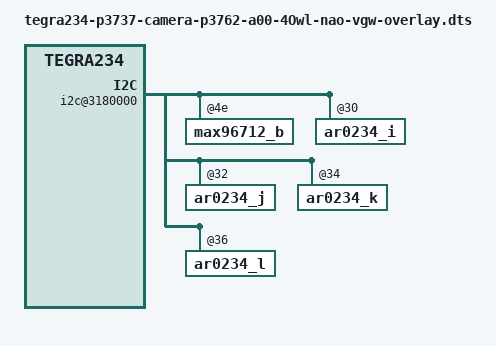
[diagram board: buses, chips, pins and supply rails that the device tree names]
// SPDX-License-Identifier: GPL-2.0-only
// SPDX-FileCopyrightText: Copyright (c) 2024, NVIDIA CORPORATION & AFFILIATES. All rights reserved.

/dts-v1/;
/plugin/;

#include "tegra234-p3737-camera-p3762-a00-nao-vgw.dtsi"
#include "dt-bindings/gpio/tegra234-gpio.h"
#include "dt-bindings/clock/tegra234-clock.h"
#include <dt-bindings/tegra234-p3737-0000+p3701-0000.h>

/* camera control gpio definitions */
#define CAM0_RST_L      TEGRA234_MAIN_GPIO(H, 3)
#define CAM0_PWDN       TEGRA234_MAIN_GPIO(H, 6)
#define CAM1_RST_L      TEGRA234_MAIN_GPIO(AC, 1)
#define CAM1_PWDN       TEGRA234_MAIN_GPIO(AC, 0)
#define PWR_EN      TEGRA234_MAIN_GPIO(AC, 7)
#define GYRO1_IRQ_GPIO  TEGRA234_AON_GPIO(CC, 1)
#define ACCE1_IRQ_GPIO  TEGRA234_AON_GPIO(CC, 0)

/ {
	overlay-name = "Jetson Camera 4-Owl p3762 module";
	jetson-header-name = "Jetson AGX CSI Connector";
	compatible = JETSON_COMPATIBLE;

	fragment-camera-hawk-owl@0 {
		target-path = "/";
		__overlay__ {
			tegra-capture-vi {
				num-channels = <4>;
				ports {
					#address-cells = <1>;
					#size-cells = <0>;
					port@0 {
						status = "okay";
					};
					port@1 {
						status = "okay";
					};
					port@2 {
						status = "okay";
					};
					port@3 {
						status = "okay";
					};
				};
			};
			bus@0 {
				host1x@13e00000 {
					nvcsi@15a00000 {
						num-channels = <4>;
						#address-cells = <1>;
						#size-cells = <0>;
						channel@0 {
							status = "okay";
						};
						channel@1 {
							status = "okay";
						};
						channel@2 {
							status = "okay";
						};
						channel@3 {
							status = "okay";
						};
					};
				};
				i2c@3180000 {
					max96712_b@4e {
						status = "okay";
					};
					ar0234_i@30 {
						status = "okay";
					};
					ar0234_j@32 {
						status = "okay";
					};
					ar0234_k@34 {
						status = "okay";
					};
					ar0234_l@36 {
						status = "okay";
					};
				};
			};
		};
	};
};
